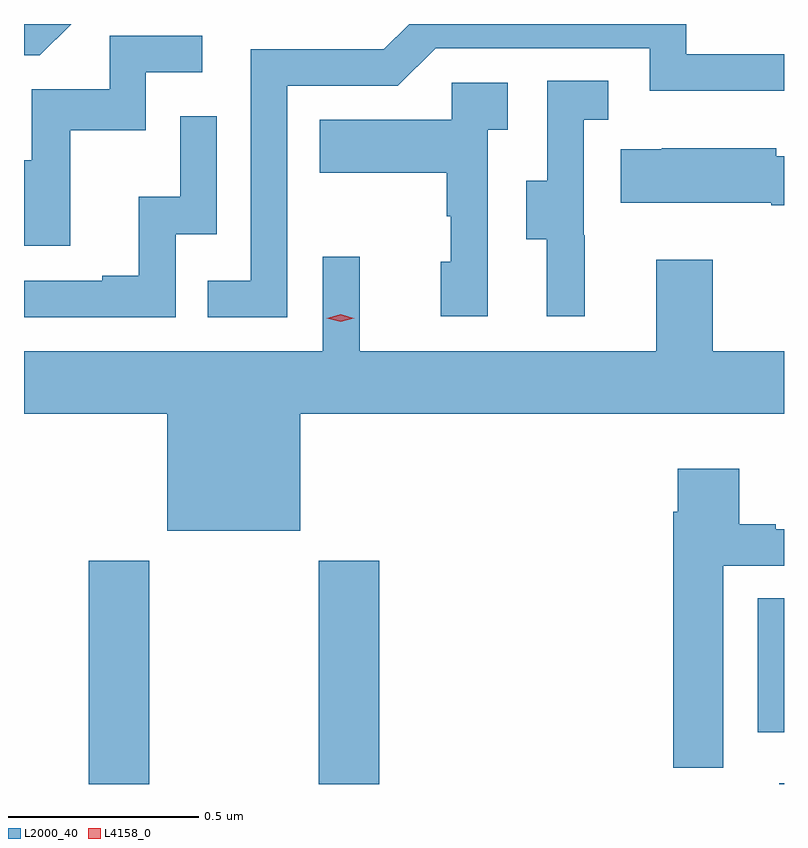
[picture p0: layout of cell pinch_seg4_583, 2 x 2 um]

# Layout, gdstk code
import gdstk
lib = gdstk.Library(unit=1e-6, precision=1e-09)
def R(c, l, rs):  # rectangles x0, y0, x1, y1
    for r in rs: c.add(gdstk.rectangle(r[:2], r[2:], *l))
def P(c, l, *ps):  # polygons
    for p in ps: c.add(gdstk.Polygon(p, *l))
L2000_40 = (2000, 40)
L4158_0 = (4158, 0)

pinch_seg4_583 = lib.new_cell('pinch_seg4_583')
R(pinch_seg4_583, L2000_40, [(1048.715,781.193,1048.875,781.78), (1049.32,781.193,1049.48,781.78), (1050.533,781.193,1050.545,781.195), (1050.476,781.329,1050.545,781.682)])
P(pinch_seg4_583, L2000_40, [(1049.238,783.03),(1049.529,783.03),(1049.628,783.129),(1050.192,783.129),(1050.192,783.017),(1050.545,783.017),(1050.545,783.114),(1050.288,783.114),(1050.288,783.193),(1049.559,783.193),(1049.492,783.126),(1049.142,783.126),(1049.142,782.517),(1049.029,782.517),(1049.029,782.421),(1049.238,782.421)],
  [(1048.669,783.193),(1048.545,783.193),(1048.545,783.111),(1048.587,783.111)],
  [(1048.667,782.913),(1048.866,782.913),(1048.866,783.066),(1049.014,783.066),(1049.014,783.162),(1048.77,783.162),(1048.77,783.021),(1048.565,783.021),(1048.565,782.835),(1048.545,782.835),(1048.545,782.61),(1048.667,782.61)],
  [(1050.02,782.637),(1050.018,782.637),(1050.018,782.941),(1050.082,782.941),(1050.082,783.044),(1049.922,783.044),(1049.922,782.781),(1049.867,782.781),(1049.867,782.626),(1049.921,782.626),(1049.921,782.424),(1050.02,782.424)],
  [(1049.766,782.915),(1049.818,782.915),(1049.818,783.039),(1049.67,783.039),(1049.67,782.941),(1049.323,782.941),(1049.323,782.801),(1049.658,782.801),(1049.658,782.687),(1049.668,782.687),(1049.668,782.568),(1049.642,782.568),(1049.642,782.424),(1049.766,782.424)],
  [(1048.944,782.64),(1049.052,782.64),(1049.052,782.95),(1048.956,782.95),(1048.956,782.738),(1048.847,782.738),(1048.847,782.53),(1048.751,782.53),(1048.751,782.517),(1048.545,782.517),(1048.545,782.421),(1048.944,782.421)],
  [(1050.545,782.845),(1050.525,782.845),(1050.525,782.866),(1050.223,782.866),(1050.223,782.863),(1050.115,782.863),(1050.115,782.723),(1050.512,782.723),(1050.512,782.716),(1050.545,782.716)],
  [(1049.272,782.168),(1050.545,782.168),(1050.545,782.332),(1050.357,782.332),(1050.357,782.572),(1050.209,782.572),(1050.209,782.332),(1049.429,782.332),(1049.429,782.581),(1049.331,782.581),(1049.331,782.332),(1048.545,782.332),(1048.545,782.168),(1048.922,782.168),(1048.922,781.859),(1049.272,781.859)],
  [(1050.385,781.767),(1050.545,781.767),(1050.545,781.863),(1050.523,781.863),(1050.523,781.876),(1050.427,781.876),(1050.427,782.023),(1050.266,782.023),(1050.266,781.91),(1050.254,781.91),(1050.254,781.236),(1050.385,781.236)])
P(pinch_seg4_583, L4158_0, [(1049.378,782.409),(1049.342,782.419),(1049.342,782.419),(1049.342,782.419),(1049.378,782.429),(1049.413,782.419),(1049.414,782.419),(1049.413,782.419)])

lib.write_gds('pinch_seg4_583.gds')
